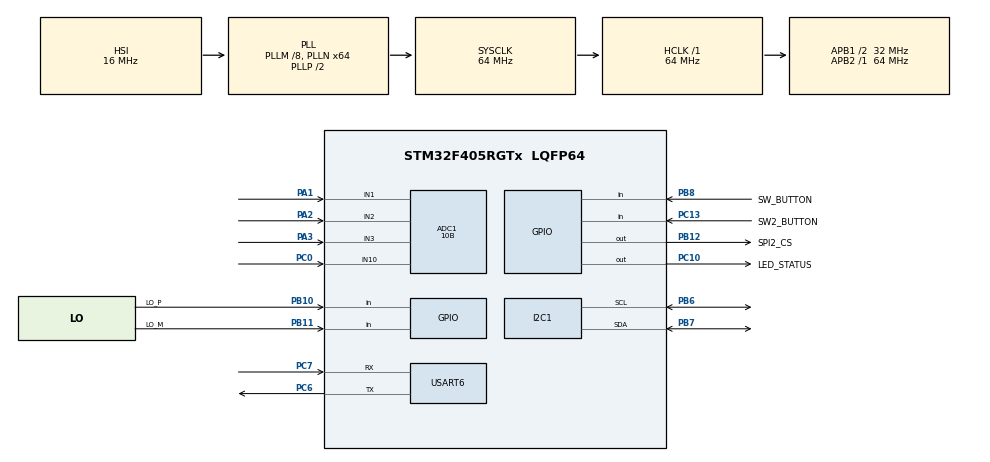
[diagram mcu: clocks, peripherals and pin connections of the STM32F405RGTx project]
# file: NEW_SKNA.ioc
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ADC1.Channel-0\#ChannelRegularConversion=ADC_CHANNEL_10
ADC1.ContinuousConvMode=ENABLE
ADC1.DMAContinuousRequests=ENABLE
ADC1.NbrOfConversionFlag=1
ADC1.Rank-0\#ChannelRegularConversion=1
ADC1.Resolution=ADC_RESOLUTION_10B
ADC1.SamplingTime-0\#ChannelRegularConversion=ADC_SAMPLETIME_3CYCLES
ADC1.master=1
Dma.ADC1.0.Direction=DMA_PERIPH_TO_MEMORY
Dma.ADC1.0.FIFOMode=DMA_FIFOMODE_DISABLE
Dma.ADC1.0.Instance=DMA2_Stream0
Dma.ADC1.0.MemDataAlignment=DMA_MDATAALIGN_HALFWORD
Dma.ADC1.0.MemInc=DMA_MINC_ENABLE
Dma.ADC1.0.Mode=DMA_CIRCULAR
Dma.ADC1.0.PeriphDataAlignment=DMA_PDATAALIGN_HALFWORD
Dma.ADC1.0.PeriphInc=DMA_PINC_DISABLE
Dma.ADC1.0.Priority=DMA_PRIORITY_HIGH
Dma.Request0=ADC1
Dma.Request1=USART6_TX
Dma.USART6_TX.1.Direction=DMA_MEMORY_TO_PERIPH
Dma.USART6_TX.1.FIFOMode=DMA_FIFOMODE_DISABLE
Dma.USART6_TX.1.Instance=DMA2_Stream6
Dma.USART6_TX.1.MemDataAlignment=DMA_MDATAALIGN_BYTE
Dma.USART6_TX.1.MemInc=DMA_MINC_ENABLE
Dma.USART6_TX.1.Mode=DMA_NORMAL
Dma.USART6_TX.1.PeriphDataAlignment=DMA_PDATAALIGN_BYTE
Dma.USART6_TX.1.PeriphInc=DMA_PINC_DISABLE
Dma.USART6_TX.1.Priority=DMA_PRIORITY_LOW
Mcu.Family=STM32F4
Mcu.Name=STM32F405RGTx
Mcu.Package=LQFP64
NVIC.DMA2_Stream0_IRQn=true\:0\:0\:false\:false\:true\:false\:true\:true
NVIC.DMA2_Stream6_IRQn=true\:0\:0\:false\:false\:true\:false\:true\:true
NVIC.PriorityGroup=NVIC_PRIORITYGROUP_4
PA1.Signal=ADCx_IN1
PA11.Signal=USB_OTG_FS_DM
PA12.Signal=USB_OTG_FS_DP
PA13.Mode=Trace_Asynchronous_SW
PA13.Signal=SYS_JTMS-SWDIO
PA14.Mode=Trace_Asynchronous_SW
PA14.Signal=SYS_JTCK-SWCLK
PA2.Signal=ADCx_IN2
PA3.Signal=ADCx_IN3
PB10.GPIO_Label=LO_P
PB10.Signal=GPIO_Input
PB11.GPIO_Label=LO_M
PB11.Signal=GPIO_Input
PB12.GPIO_Label=SPI2_CS
PB12.Signal=GPIO_Output
PB13.Signal=SPI2_SCK
PB14.Signal=SPI2_MISO
PB15.Signal=SPI2_MOSI
PB3.Mode=Trace_Asynchronous_SW
PB3.Signal=SYS_JTDO-SWO
PB6.Mode=I2C
PB6.Signal=I2C1_SCL
PB7.Mode=I2C
PB7.Signal=I2C1_SDA
PB8.GPIO_Label=SW_BUTTON
PB8.Signal=GPIO_Input
PC0.Signal=ADCx_IN10
PC10.GPIO_Label=LED_STATUS
PC10.Signal=GPIO_Output
PC13-ANTI_TAMP.GPIO_Label=SW2_BUTTON
PC13-ANTI_TAMP.Signal=GPIO_Input
PC6.Mode=Asynchronous
PC6.Signal=USART6_TX
PC7.Mode=Asynchronous
PC7.Signal=USART6_RX
PH0-OSC_IN.Mode=HSE-External-Oscillator
PH0-OSC_IN.Signal=RCC_OSC_IN
PH1-OSC_OUT.Mode=HSE-External-Oscillator
PH1-OSC_OUT.Signal=RCC_OSC_OUT
ProjectManager.HeapSize=0x200
ProjectManager.StackSize=0x400
ProjectManager.TargetToolchain=STM32CubeIDE
RCC.48MHZClocksFreq_Value=32000000
RCC.AHBFreq_Value=64000000
RCC.APB1CLKDivider=RCC_HCLK_DIV2
RCC.APB1Freq_Value=32000000
RCC.APB1TimFreq_Value=64000000
RCC.APB2Freq_Value=64000000
RCC.APB2TimFreq_Value=64000000
RCC.CortexFreq_Value=64000000
RCC.HCLKFreq_Value=64000000
RCC.HSE_VALUE=25000000
RCC.HSI_VALUE=16000000
RCC.LSE_VALUE=32768
RCC.PLLM=8
RCC.PLLN=64
RCC.SYSCLKFreq_VALUE=64000000
RCC.SYSCLKSource=RCC_SYSCLKSOURCE_PLLCLK
RCC.VCOOutputFreq_Value=128000000
SH.ADCx_IN1.0=ADC1_IN1,IN1
SH.ADCx_IN10.0=ADC1_IN10,IN10
SH.ADCx_IN2.0=ADC1_IN2,IN2
SH.ADCx_IN3.0=ADC1_IN3,IN3
USART6.VirtualMode=VM_ASYNC
VP_TIM6_VS_ClockSourceINT.Mode=Enable_Timer
board=custom

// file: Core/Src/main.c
/* USER CODE BEGIN Header */
/**
  ******************************************************************************
  * @file           : main.c
  * @brief          : Main program body
  ******************************************************************************
  * @attention
  *
  * Copyright (c) 2024 STMicroelectronics.
  * All rights reserved.
  *
  * This software is licensed under terms that can be found in the LICENSE file
  * in the root directory of this software component.
  * If no LICENSE file comes with this software, it is provided AS-IS.
  *
  ******************************************************************************
  */
/* USER CODE END Header */
#include "main.h"

/* USER CODE BEGIN Includes */
#include "string.h"
#include "stdio.h"
/* USER CODE END Includes */

ADC_HandleTypeDef hadc1;
DMA_HandleTypeDef hdma_adc1;

I2C_HandleTypeDef hi2c1;

TIM_HandleTypeDef htim6;

UART_HandleTypeDef huart6;
DMA_HandleTypeDef hdma_usart6_tx;

void SystemClock_Config(void);
static void MX_GPIO_Init(void);
static void MX_DMA_Init(void);
static void MX_USART6_UART_Init(void);
static void MX_ADC1_Init(void);
static void MX_TIM6_Init(void);
static void MX_I2C1_Init(void);

/* USER CODE BEGIN 0 */
#define ADC_BUFF_LEN 4096
uint16_t adc_buff[ADC_BUFF_LEN];	// buffer to store samples
uint16_t * buff_ptr;
volatile uint8_t data_ready_flag = 0;
//static volatile uint16_t * adc_pc;
int sensor_value;
char buffer[20];

/* USER CODE END 0 */

int main(void)
{

  /* MCU Configuration--------------------------------------------------------*/

  /* Reset of all peripherals, Initializes the Flash interface and the Systick. */
  HAL_Init();

  /* Configure the system clock */
  SystemClock_Config();

  /* Initialize all configured peripherals */
  MX_GPIO_Init();
  MX_DMA_Init();
  MX_USART6_UART_Init();
  MX_ADC1_Init();
  MX_TIM6_Init();
  MX_I2C1_Init();
  /* USER CODE BEGIN 2 */
  //char msg[13] = "Hello world";
  HAL_ADC_Start_DMA(&hadc1, (uint32_t *)adc_buff, ADC_BUFF_LEN);

  /* USER CODE END 2 */

  /* Infinite loop */
  /* USER CODE BEGIN WHILE */
  while (1)
  {
	    //HAL_UART_Transmit(&huart6, (uint8_t *)msg, strlen(msg), HAL_MAX_DELAY);

	  if(data_ready_flag){
	 	  	  for(int i = 0; i < ADC_BUFF_LEN; i++){
	 	  		  char buffer[4];
	 	  		  sprintf(buffer, "%u\r\n", adc_buff[i]);
	 	  		  HAL_UART_Transmit(&huart6, (uint8_t *)buffer, strlen(buffer), HAL_MAX_DELAY);
	 	  	  }
	 	  }
 	  data_ready_flag = 0;

    /* USER CODE END WHILE */

  }
}

void SystemClock_Config(void)
{
  RCC_OscInitTypeDef RCC_OscInitStruct = {0};
  RCC_ClkInitTypeDef RCC_ClkInitStruct = {0};

  /** Configure the main internal regulator output voltage
  */
  __HAL_RCC_PWR_CLK_ENABLE();
  __HAL_PWR_VOLTAGESCALING_CONFIG(PWR_REGULATOR_VOLTAGE_SCALE1);

  /** Initializes the RCC Oscillators according to the specified parameters
  * in the RCC_OscInitTypeDef structure.
  */
  RCC_OscInitStruct.OscillatorType = RCC_OSCILLATORTYPE_HSI;
  RCC_OscInitStruct.HSIState = RCC_HSI_ON;
  RCC_OscInitStruct.HSICalibrationValue = RCC_HSICALIBRATION_DEFAULT;
  RCC_OscInitStruct.PLL.PLLState = RCC_PLL_ON;
  RCC_OscInitStruct.PLL.PLLSource = RCC_PLLSOURCE_HSI;
  RCC_OscInitStruct.PLL.PLLM = 8;
  RCC_OscInitStruct.PLL.PLLN = 64;
  RCC_OscInitStruct.PLL.PLLP = RCC_PLLP_DIV2;
  RCC_OscInitStruct.PLL.PLLQ = 4;
  if (HAL_RCC_OscConfig(&RCC_OscInitStruct) != HAL_OK)
  {
    Error_Handler();
  }

  /** Initializes the CPU, AHB and APB buses clocks
  */
  RCC_ClkInitStruct.ClockType = RCC_CLOCKTYPE_HCLK|RCC_CLOCKTYPE_SYSCLK
                              |RCC_CLOCKTYPE_PCLK1|RCC_CLOCKTYPE_PCLK2;
  RCC_ClkInitStruct.SYSCLKSource = RCC_SYSCLKSOURCE_PLLCLK;
  RCC_ClkInitStruct.AHBCLKDivider = RCC_SYSCLK_DIV1;
  RCC_ClkInitStruct.APB1CLKDivider = RCC_HCLK_DIV2;
  RCC_ClkInitStruct.APB2CLKDivider = RCC_HCLK_DIV1;

  if (HAL_RCC_ClockConfig(&RCC_ClkInitStruct, FLASH_LATENCY_2) != HAL_OK)
  {
    Error_Handler();
  }
}

static void MX_ADC1_Init(void)
{

  ADC_ChannelConfTypeDef sConfig = {0};

  /** Configure the global features of the ADC (Clock, Resolution, Data Alignment and number of conversion)
  */
  hadc1.Instance = ADC1;
  hadc1.Init.ClockPrescaler = ADC_CLOCK_SYNC_PCLK_DIV2;
  hadc1.Init.Resolution = ADC_RESOLUTION_10B;
  hadc1.Init.ScanConvMode = DISABLE;
  hadc1.Init.ContinuousConvMode = ENABLE;
  hadc1.Init.DiscontinuousConvMode = DISABLE;
  hadc1.Init.ExternalTrigConvEdge = ADC_EXTERNALTRIGCONVEDGE_NONE;
  hadc1.Init.ExternalTrigConv = ADC_SOFTWARE_START;
  hadc1.Init.DataAlign = ADC_DATAALIGN_RIGHT;
  hadc1.Init.NbrOfConversion = 1;
  hadc1.Init.DMAContinuousRequests = ENABLE;
  hadc1.Init.EOCSelection = ADC_EOC_SINGLE_CONV;
  if (HAL_ADC_Init(&hadc1) != HAL_OK)
  {
    Error_Handler();
  }

  /** Configure for the selected ADC regular channel its corresponding rank in the sequencer and its sample time.
  */
  sConfig.Channel = ADC_CHANNEL_10;
  sConfig.Rank = 1;
  sConfig.SamplingTime = ADC_SAMPLETIME_3CYCLES;
  if (HAL_ADC_ConfigChannel(&hadc1, &sConfig) != HAL_OK)
  {
    Error_Handler();
  }

}

static void MX_I2C1_Init(void)
{

  hi2c1.Instance = I2C1;
  hi2c1.Init.ClockSpeed = 100000;
  hi2c1.Init.DutyCycle = I2C_DUTYCYCLE_2;
  hi2c1.Init.OwnAddress1 = 0;
  hi2c1.Init.AddressingMode = I2C_ADDRESSINGMODE_7BIT;
  hi2c1.Init.DualAddressMode = I2C_DUALADDRESS_DISABLE;
  hi2c1.Init.OwnAddress2 = 0;
  hi2c1.Init.GeneralCallMode = I2C_GENERALCALL_DISABLE;
  hi2c1.Init.NoStretchMode = I2C_NOSTRETCH_DISABLE;
  if (HAL_I2C_Init(&hi2c1) != HAL_OK)
  {
    Error_Handler();
  }

}

static void MX_TIM6_Init(void)
{

  TIM_MasterConfigTypeDef sMasterConfig = {0};

  htim6.Instance = TIM6;
  htim6.Init.Prescaler = 0;
  htim6.Init.CounterMode = TIM_COUNTERMODE_UP;
  htim6.Init.Period = 65535;
  htim6.Init.AutoReloadPreload = TIM_AUTORELOAD_PRELOAD_DISABLE;
  if (HAL_TIM_Base_Init(&htim6) != HAL_OK)
  {
    Error_Handler();
  }
  sMasterConfig.MasterOutputTrigger = TIM_TRGO_RESET;
  sMasterConfig.MasterSlaveMode = TIM_MASTERSLAVEMODE_DISABLE;
  if (HAL_TIMEx_MasterConfigSynchronization(&htim6, &sMasterConfig) != HAL_OK)
  {
    Error_Handler();
  }

}

static void MX_USART6_UART_Init(void)
{

  huart6.Instance = USART6;
  huart6.Init.BaudRate = 115200;
  huart6.Init.WordLength = UART_WORDLENGTH_8B;
  huart6.Init.StopBits = UART_STOPBITS_1;
  huart6.Init.Parity = UART_PARITY_NONE;
  huart6.Init.Mode = UART_MODE_TX_RX;
  huart6.Init.HwFlowCtl = UART_HWCONTROL_NONE;
  huart6.Init.OverSampling = UART_OVERSAMPLING_16;
  if (HAL_UART_Init(&huart6) != HAL_OK)
  {
    Error_Handler();
  }

}

static void MX_DMA_Init(void)
{

  /* DMA controller clock enable */
  __HAL_RCC_DMA2_CLK_ENABLE();

  /* DMA interrupt init */
  /* DMA2_Stream0_IRQn interrupt configuration */
  HAL_NVIC_SetPriority(DMA2_Stream0_IRQn, 0, 0);
  HAL_NVIC_EnableIRQ(DMA2_Stream0_IRQn);
  /* DMA2_Stream6_IRQn interrupt configuration */
  HAL_NVIC_SetPriority(DMA2_Stream6_IRQn, 0, 0);
  HAL_NVIC_EnableIRQ(DMA2_Stream6_IRQn);

}

static void MX_GPIO_Init(void)
{
  GPIO_InitTypeDef GPIO_InitStruct = {0};

  /* GPIO Ports Clock Enable */
  __HAL_RCC_GPIOC_CLK_ENABLE();
  __HAL_RCC_GPIOH_CLK_ENABLE();
  __HAL_RCC_GPIOA_CLK_ENABLE();
  __HAL_RCC_GPIOB_CLK_ENABLE();

  /*Configure GPIO pin Output Level */
  HAL_GPIO_WritePin(SPI2_CS_GPIO_Port, SPI2_CS_Pin, GPIO_PIN_RESET);

  /*Configure GPIO pin Output Level */
  HAL_GPIO_WritePin(LED_STATUS_GPIO_Port, LED_STATUS_Pin, GPIO_PIN_RESET);

  /*Configure GPIO pin : SW2_BUTTON_Pin */
  GPIO_InitStruct.Pin = SW2_BUTTON_Pin;
  GPIO_InitStruct.Mode = GPIO_MODE_INPUT;
  GPIO_InitStruct.Pull = GPIO_NOPULL;
  HAL_GPIO_Init(SW2_BUTTON_GPIO_Port, &GPIO_InitStruct);

  /*Configure GPIO pins : LO_P_Pin LO_M_Pin SW_BUTTON_Pin */
  GPIO_InitStruct.Pin = LO_P_Pin|LO_M_Pin|SW_BUTTON_Pin;
  GPIO_InitStruct.Mode = GPIO_MODE_INPUT;
  GPIO_InitStruct.Pull = GPIO_NOPULL;
  HAL_GPIO_Init(GPIOB, &GPIO_InitStruct);

  /*Configure GPIO pin : SPI2_CS_Pin */
  GPIO_InitStruct.Pin = SPI2_CS_Pin;
  GPIO_InitStruct.Mode = GPIO_MODE_OUTPUT_PP;
  GPIO_InitStruct.Pull = GPIO_NOPULL;
  GPIO_InitStruct.Speed = GPIO_SPEED_FREQ_LOW;
  HAL_GPIO_Init(SPI2_CS_GPIO_Port, &GPIO_InitStruct);

  /*Configure GPIO pins : PB13 PB14 PB15 */
  GPIO_InitStruct.Pin = GPIO_PIN_13|GPIO_PIN_14|GPIO_PIN_15;
  GPIO_InitStruct.Mode = GPIO_MODE_AF_PP;
  GPIO_InitStruct.Pull = GPIO_NOPULL;
  GPIO_InitStruct.Speed = GPIO_SPEED_FREQ_VERY_HIGH;
  GPIO_InitStruct.Alternate = GPIO_AF5_SPI2;
  HAL_GPIO_Init(GPIOB, &GPIO_InitStruct);

  /*Configure GPIO pins : PA11 PA12 */
  GPIO_InitStruct.Pin = GPIO_PIN_11|GPIO_PIN_12;
  GPIO_InitStruct.Mode = GPIO_MODE_AF_PP;
  GPIO_InitStruct.Pull = GPIO_NOPULL;
  GPIO_InitStruct.Speed = GPIO_SPEED_FREQ_VERY_HIGH;
  GPIO_InitStruct.Alternate = GPIO_AF10_OTG_FS;
  HAL_GPIO_Init(GPIOA, &GPIO_InitStruct);

  /*Configure GPIO pin : LED_STATUS_Pin */
  GPIO_InitStruct.Pin = LED_STATUS_Pin;
  GPIO_InitStruct.Mode = GPIO_MODE_OUTPUT_PP;
  GPIO_InitStruct.Pull = GPIO_NOPULL;
  GPIO_InitStruct.Speed = GPIO_SPEED_FREQ_LOW;
  HAL_GPIO_Init(LED_STATUS_GPIO_Port, &GPIO_InitStruct);

}

/* USER CODE BEGIN 4 */
void HAL_ADC_ConvCpltCallback(ADC_HandleTypeDef* hadc){
	//adc_pc = &adc_buff[ADC_BUFF_LEN/2];
	data_ready_flag = 1;
}

/* USER CODE END 4 */

void Error_Handler(void)
{
  __disable_irq();
  while (1)
  {
  }
}
